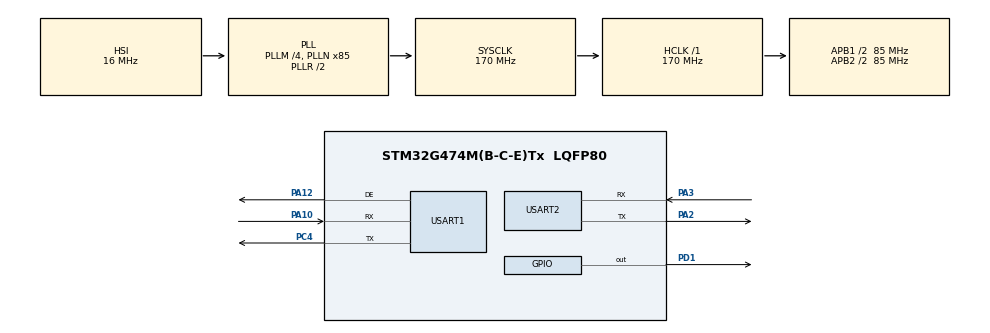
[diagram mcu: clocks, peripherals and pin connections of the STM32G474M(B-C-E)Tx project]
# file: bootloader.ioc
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Dma.Request0=USART2_TX
Dma.Request1=USART1_RX
Dma.Request2=USART1_TX
Dma.USART1_RX.1.Direction=DMA_PERIPH_TO_MEMORY
Dma.USART1_RX.1.EventEnable=DISABLE
Dma.USART1_RX.1.Instance=DMA1_Channel7
Dma.USART1_RX.1.MemDataAlignment=DMA_MDATAALIGN_BYTE
Dma.USART1_RX.1.MemInc=DMA_MINC_ENABLE
Dma.USART1_RX.1.Mode=DMA_CIRCULAR
Dma.USART1_RX.1.PeriphDataAlignment=DMA_PDATAALIGN_BYTE
Dma.USART1_RX.1.PeriphInc=DMA_PINC_DISABLE
Dma.USART1_RX.1.Polarity=HAL_DMAMUX_REQ_GEN_RISING
Dma.USART1_RX.1.Priority=DMA_PRIORITY_VERY_HIGH
Dma.USART1_RX.1.RequestNumber=1
Dma.USART1_RX.1.SignalID=NONE
Dma.USART1_RX.1.SyncEnable=DISABLE
Dma.USART1_RX.1.SyncPolarity=HAL_DMAMUX_SYNC_NO_EVENT
Dma.USART1_RX.1.SyncRequestNumber=1
Dma.USART1_RX.1.SyncSignalID=NONE
Dma.USART1_TX.2.Direction=DMA_MEMORY_TO_PERIPH
Dma.USART1_TX.2.EventEnable=DISABLE
Dma.USART1_TX.2.Instance=DMA2_Channel1
Dma.USART1_TX.2.MemDataAlignment=DMA_MDATAALIGN_BYTE
Dma.USART1_TX.2.MemInc=DMA_MINC_ENABLE
Dma.USART1_TX.2.Mode=DMA_NORMAL
Dma.USART1_TX.2.PeriphDataAlignment=DMA_PDATAALIGN_BYTE
Dma.USART1_TX.2.PeriphInc=DMA_PINC_DISABLE
Dma.USART1_TX.2.Polarity=HAL_DMAMUX_REQ_GEN_RISING
Dma.USART1_TX.2.Priority=DMA_PRIORITY_LOW
Dma.USART1_TX.2.RequestNumber=1
Dma.USART1_TX.2.SignalID=NONE
Dma.USART1_TX.2.SyncEnable=DISABLE
Dma.USART1_TX.2.SyncPolarity=HAL_DMAMUX_SYNC_NO_EVENT
Dma.USART1_TX.2.SyncRequestNumber=1
Dma.USART1_TX.2.SyncSignalID=NONE
Dma.USART2_TX.0.Direction=DMA_MEMORY_TO_PERIPH
Dma.USART2_TX.0.EventEnable=DISABLE
Dma.USART2_TX.0.Instance=DMA1_Channel8
Dma.USART2_TX.0.MemDataAlignment=DMA_MDATAALIGN_BYTE
Dma.USART2_TX.0.MemInc=DMA_MINC_ENABLE
Dma.USART2_TX.0.Mode=DMA_NORMAL
Dma.USART2_TX.0.PeriphDataAlignment=DMA_PDATAALIGN_BYTE
Dma.USART2_TX.0.PeriphInc=DMA_PINC_DISABLE
Dma.USART2_TX.0.Polarity=HAL_DMAMUX_REQ_GEN_RISING
Dma.USART2_TX.0.Priority=DMA_PRIORITY_HIGH
Dma.USART2_TX.0.RequestNumber=1
Dma.USART2_TX.0.SignalID=NONE
Dma.USART2_TX.0.SyncEnable=DISABLE
Dma.USART2_TX.0.SyncPolarity=HAL_DMAMUX_SYNC_NO_EVENT
Dma.USART2_TX.0.SyncRequestNumber=1
Dma.USART2_TX.0.SyncSignalID=NONE
Mcu.Family=STM32G4
Mcu.Name=STM32G474M(B-C-E)Tx
Mcu.Package=LQFP80
NVIC.DMA1_Channel7_IRQn=true\:0\:0\:false\:false\:true\:false\:true\:true
NVIC.DMA1_Channel8_IRQn=true\:0\:0\:false\:false\:true\:false\:true\:true
NVIC.DMA2_Channel1_IRQn=true\:0\:0\:false\:false\:true\:false\:true\:true
NVIC.PriorityGroup=NVIC_PRIORITYGROUP_4
NVIC.USART1_IRQn=true\:0\:0\:false\:false\:true\:true\:true\:true
NVIC.USART2_IRQn=true\:0\:0\:false\:false\:true\:true\:true\:true
PA10.Mode=Asynchronous
PA10.Signal=USART1_RX
PA12.Mode=Hardware Flow Control (RS485)
PA12.Signal=USART1_DE
PA2.Mode=Asynchronous
PA2.Signal=USART2_TX
PA3.Mode=Asynchronous
PA3.Signal=USART2_RX
PC4.Mode=Asynchronous
PC4.Signal=USART1_TX
PD1.Signal=GPIO_Output
ProjectManager.HeapSize=0x200
ProjectManager.StackSize=0x400
ProjectManager.TargetToolchain=STM32CubeIDE
RCC.ADC12Freq_Value=170000000
RCC.ADC345Freq_Value=170000000
RCC.AHBFreq_Value=170000000
RCC.APB1CLKDivider=RCC_HCLK_DIV2
RCC.APB1Freq_Value=85000000
RCC.APB1TimFreq_Value=170000000
RCC.APB2CLKDivider=RCC_HCLK_DIV2
RCC.APB2Freq_Value=85000000
RCC.APB2TimFreq_Value=170000000
RCC.CortexFreq_Value=170000000
RCC.EXTERNAL_CLOCK_VALUE=12288000
RCC.HCLKFreq_Value=170000000
RCC.HSE_VALUE=8000000
RCC.HSI48_VALUE=48000000
RCC.HSI_VALUE=16000000
RCC.LSE_VALUE=32768
RCC.PLLM=RCC_PLLM_DIV4
RCC.PLLN=85
RCC.RTCClockSelection=RCC_RTCCLKSOURCE_LSE
RCC.SYSCLKFreq_VALUE=170000000
RCC.SYSCLKSource=RCC_SYSCLKSOURCE_PLLCLK
RCC.USART1CLockSelection=RCC_USART1CLKSOURCE_SYSCLK
RCC.USBFreq_Value=170000000
RCC.VCOOutputFreq_Value=340000000
SYS.PVDLevel=PWR_PVDLEVEL_6
USART1.VirtualMode-Asynchronous=VM_ASYNC
USART1.VirtualMode-Hardware\ Flow\ Control\ (RS485)=VM_ASYNC
USART2.SwapParam=ADVFEATURE_SWAP_ENABLE
USART2.VirtualMode-Asynchronous=VM_ASYNC
VP_SYS_VS_DBSignals.Mode=DisableDeadBatterySignals
VP_SYS_V_PVD_IN.Mode=Mode_PVD_Int
VP_SYS_V_VREFBUF.Mode=ExternalMode
board=custom

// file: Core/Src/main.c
/* USER CODE BEGIN Header */
/**
  ******************************************************************************
  * @file           : main.c
  * @brief          : Main program body
  ******************************************************************************
  * @attention
  *
  * Copyright (c) 2026 STMicroelectronics.
  * All rights reserved.
  *
  * This software is licensed under terms that can be found in the LICENSE file
  * in the root directory of this software component.
  * If no LICENSE file comes with this software, it is provided AS-IS.
  *
  ******************************************************************************
  */
/* USER CODE END Header */
#include "main.h"
#include "dma.h"
#include "usart.h"
#include "gpio.h"

/* USER CODE BEGIN Includes */
#include <stdio.h>
#include <string.h>
#include <stdarg.h>

#include "etx_ota_update.h"
/* USER CODE END Includes */

/* USER CODE BEGIN PD */
//use the DEBUG_MODE for ST programmer via huart2
/*#define DEBUG_MODE*/
/* USER CODE END PD */

/* USER CODE BEGIN PM */
#define MAJOR 0   // BL Major version Number
#define MINOR 2   // BL Minor version Number

#define APP_ADDRESS ETX_APP_FLASH_ADDR

#define BUFFER_SIZE (254)
static char buffer[BUFFER_SIZE] = { 0 };
/* USER CODE END PM */

//UART_HandleTypeDef huart2;
//UART_HandleTypeDef huart1;

/* USER CODE BEGIN PV */
const uint8_t BL_Version[2] = { MAJOR, MINOR };
/* USER CODE END PV */

/* USER CODE BEGIN PFP */
static void goto_application( void );
uint8_t uart_printf(const char *format, ...);

typedef void (*pFunction)(void);
/* USER CODE END PD */

/* Private macro -------------------------------------------------------------*/
/* USER CODE BEGIN PM */

/* USER CODE END PM */

/* Private variables ---------------------------------------------------------*/

/* USER CODE BEGIN PV */

/* USER CODE END PV */

/* Private function prototypes -----------------------------------------------*/
void SystemClock_Config(void);
/* USER CODE BEGIN PFP */

/* USER CODE END PFP */

int main(void)
{

  /* MCU Configuration--------------------------------------------------------*/

  /* Reset of all peripherals, Initializes the Flash interface and the Systick. */
  HAL_Init();

  /* Configure the system clock */
  SystemClock_Config();

  /* Initialize all configured peripherals */
  MX_GPIO_Init();
  MX_DMA_Init();
  #ifdef DEBUG_MODE
  MX_USART2_UART_Init();
  #endif//DEBUG_MODE
  MX_USART1_UART_Init();
  /* USER CODE BEGIN 2 */
  uart_printf("Starting Bootloader {%d.%d}\n", BL_Version[0], BL_Version[1]);

  //HAL_GPIO_WritePin(GPIOD, GPIO_PIN_8, GPIO_PIN_RESET);
  HAL_Delay (200); /* 4sec delay*/
  /* USER CODE END 2 */

  /* Check the GPIO for 3 seconds */
  //uart_printf("Starting Firmware Download!!!\r\n");
#if 1
  /* OTA Request. Receive the data from the UART4 and flash */
  if( etx_ota_download_and_flash() != ETX_OTA_EX_OK )
  {
    /* Error. Don't process. */
    uart_printf("OTA Update : ERROR!!! HALT!!!\r\n");
    while( 1 );
  }
  else
  {
    /* Reset to load the new application */
    uart_printf("Firmware update is done!!! Rebooting...\r\n");
    etx_ota_send_print("\r\nFirmware update is done!!! Rebooting...\r\n");
//    HAL_NVIC_SystemReset();
  }
#endif

  // Jump to application
  goto_application();
  /* USER CODE END 2 */

  /* Infinite loop */
  while (1)
  {

  }
}

void SystemClock_Config(void)
{
  RCC_OscInitTypeDef RCC_OscInitStruct = {0};
  RCC_ClkInitTypeDef RCC_ClkInitStruct = {0};

  /** Configure the main internal regulator output voltage
  */
  HAL_PWREx_ControlVoltageScaling(PWR_REGULATOR_VOLTAGE_SCALE1_BOOST);

  /** Initializes the RCC Oscillators according to the specified parameters
  * in the RCC_OscInitTypeDef structure.
  */
  RCC_OscInitStruct.OscillatorType = RCC_OSCILLATORTYPE_HSI;
  RCC_OscInitStruct.HSIState = RCC_HSI_ON;
  RCC_OscInitStruct.HSICalibrationValue = RCC_HSICALIBRATION_DEFAULT;
  RCC_OscInitStruct.PLL.PLLState = RCC_PLL_ON;
  RCC_OscInitStruct.PLL.PLLSource = RCC_PLLSOURCE_HSI;
  RCC_OscInitStruct.PLL.PLLM = RCC_PLLM_DIV4;
  RCC_OscInitStruct.PLL.PLLN = 85;
  RCC_OscInitStruct.PLL.PLLP = RCC_PLLP_DIV2;
  RCC_OscInitStruct.PLL.PLLQ = RCC_PLLQ_DIV2;
  RCC_OscInitStruct.PLL.PLLR = RCC_PLLR_DIV2;
  if (HAL_RCC_OscConfig(&RCC_OscInitStruct) != HAL_OK)
  {
    Error_Handler();
  }

  /** Initializes the CPU, AHB and APB buses clocks
  */
  RCC_ClkInitStruct.ClockType = RCC_CLOCKTYPE_HCLK|RCC_CLOCKTYPE_SYSCLK
                              |RCC_CLOCKTYPE_PCLK1|RCC_CLOCKTYPE_PCLK2;
  RCC_ClkInitStruct.SYSCLKSource = RCC_SYSCLKSOURCE_PLLCLK;
  RCC_ClkInitStruct.AHBCLKDivider = RCC_SYSCLK_DIV1;
  RCC_ClkInitStruct.APB1CLKDivider = RCC_HCLK_DIV2;
  RCC_ClkInitStruct.APB2CLKDivider = RCC_HCLK_DIV2;

  if (HAL_RCC_ClockConfig(&RCC_ClkInitStruct, FLASH_LATENCY_4) != HAL_OK)
  {
    Error_Handler();
  }
}

/* USER CODE BEGIN 4 */
/* Jump to application */
static void goto_application(void)
{
    uint32_t jump_addr = *(uint32_t *)(APP_ADDRESS + 4);
    pFunction app = (pFunction)jump_addr;

    uart_printf ("Gonna jump to application\n");
    etx_ota_send_print("\r\nJump to application\r\n");

//    HAL_UART_DeInit(&huart2);
//    HAL_DeInit();

//    __disable_irq();
//    __set_MSP(*(uint32_t *)APP_ADDRESS);
    app();
}

uint8_t uart_printf(const char *format, ...) {
#ifdef DEBUG_MODE
	va_list args;
return 0;
	memset(buffer, 0, sizeof(buffer));
	va_start(args, format);
	vsprintf(buffer, format, args);
	perror(buffer);
	va_end(args);
	HAL_UART_Transmit(&huart2, (uint8_t*) buffer, strlen(buffer) < sizeof(buffer) - 1 ? (uint8_t) strlen(buffer) : (uint8_t) (sizeof(buffer) - 1),
	HAL_MAX_DELAY);
	return (uint8_t) strlen(buffer);
#else
  return 0;
#endif//DEBUG_MODE
}
/* USER CODE END 4 */

void Error_Handler(void)
{
  __disable_irq();
  while (1)
  {
  }
}

#ifdef  USE_FULL_ASSERT
/**
  * @brief  Reports the name of the source file and the source line number
  *         where the assert_param error has occurred.
  * @param  file: pointer to the source file name
  * @param  line: assert_param error line source number
  * @retval None
  */
void assert_failed(uint8_t *file, uint32_t line)
{
  /* USER CODE BEGIN 6 */
  /* User can add his own implementation to report the file name and line number,
     ex: uart_printf("Wrong parameters value: file %s on line %d\r\n", file, line) */
  /* USER CODE END 6 */
}
#endif /* USE_FULL_ASSERT */
